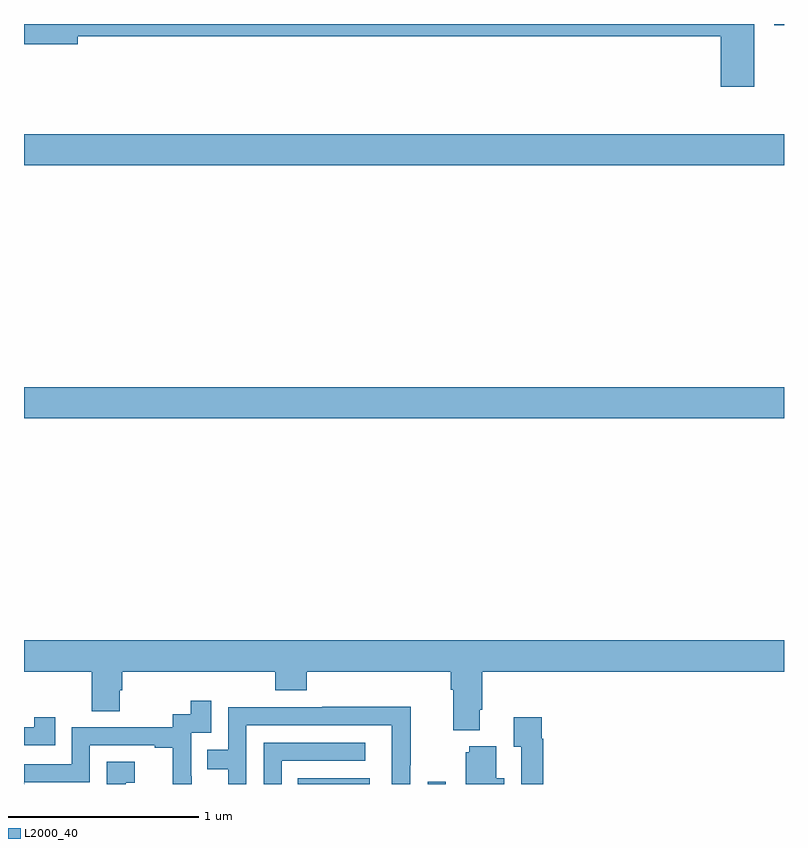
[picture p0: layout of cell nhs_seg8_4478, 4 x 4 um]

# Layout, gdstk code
import gdstk
lib = gdstk.Library(unit=1e-6, precision=1e-09)
def R(c, l, rs):  # rectangles x0, y0, x1, y1
    for r in rs: c.add(gdstk.rectangle(r[:2], r[2:], *l))
def P(c, l, *ps):  # polygons
    for p in ps: c.add(gdstk.Polygon(p, *l))
L2000_40 = (2000, 40)

nhs_seg8_4478 = lib.new_cell('nhs_seg8_4478')
R(nhs_seg8_4478, L2000_40, [(384.442,1123.9,384.82,1123.93), (385.125,1123.9,385.221,1123.912), (383,1125.824,387,1125.988), (383,1127.156,387,1127.32), (386.949,1127.894,387,1127.9)])
P(nhs_seg8_4478, L2000_40, [(386.844,1127.9),(383,1127.9),(383,1127.794),(383.284,1127.794),(383.284,1127.836),(386.666,1127.836),(386.666,1127.571),(386.844,1127.571)],
  [(385.399,1124.29),(385.412,1124.29),(385.412,1124.492),(387,1124.492),(387,1124.656),(383,1124.656),(383,1124.492),(383.356,1124.492),(383.356,1124.284),(383.503,1124.284),(383.503,1124.394),(383.516,1124.394),(383.516,1124.492),(384.323,1124.492),(384.323,1124.393),(384.488,1124.393),(384.488,1124.492),(385.247,1124.492),(385.247,1124.396),(385.259,1124.396),(385.259,1124.183),(385.399,1124.183)],
  [(383.001,1123.908),(383.346,1123.908),(383.346,1124.103),(383.687,1124.103),(383.687,1124.091),(383.783,1124.091),(383.783,1123.9),(383.882,1123.9),(383.882,1123.94),(383.88,1123.94),(383.88,1124.169),(383.985,1124.169),(383.985,1124.338),(383.877,1124.338),(383.877,1124.268),(383.784,1124.268),(383.784,1124.199),(383.25,1124.199),(383.25,1124.004),(383,1124.004),(383,1123.9),(383.001,1123.9)],
  [(384.171,1124.208),(384.936,1124.208),(384.936,1123.9),(385.032,1123.9),(385.032,1123.999),(385.035,1123.999),(385.035,1124.306),(384.571,1124.306),(384.571,1124.304),(384.075,1124.304),(384.075,1124.079),(383.965,1124.079),(383.965,1123.978),(384.075,1123.978),(384.075,1123.9),(384.171,1123.9)],
  [(383.165,1124.251),(383.054,1124.251),(383.054,1124.199),(383,1124.199),(383,1124.103),(383.165,1124.103)],
  [(385.733,1124.138),(385.726,1124.138),(385.726,1124.251),(385.577,1124.251),(385.577,1124.095),(385.617,1124.095),(385.617,1123.9),(385.733,1123.9)],
  [(384.357,1124.022),(384.796,1124.022),(384.796,1124.118),(384.261,1124.118),(384.261,1123.9),(384.357,1123.9)],
  [(385.528,1123.93),(385.486,1123.93),(385.486,1124.098),(385.343,1124.098),(385.343,1124.067),(385.325,1124.067),(385.325,1123.9),(385.528,1123.9)],
  [(383.535,1123.907),(383.584,1123.907),(383.584,1124.017),(383.436,1124.017),(383.436,1123.9),(383.535,1123.9)])

lib.write_gds('nhs_seg8_4478.gds')
